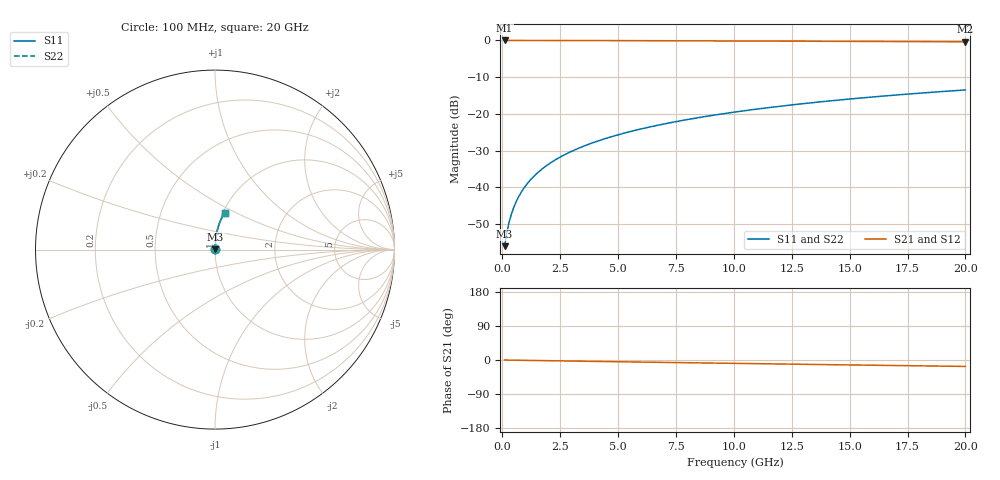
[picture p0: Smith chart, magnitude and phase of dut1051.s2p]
! Touchstone file exported from HFSS 2024.1.0
!  File:  C:/UserFiles/LocalFiles/RDL_TSV_Batchsim/temp_RDL_top_1051_1780044481.aedt
!  Generated:  04:50:15 PM May 29, 2026
!  Design:  RDL_top
!  Project:  temp_RDL_top_1051_1780044481
!  Setup:  Setup1
!  Solution:  Sweep
! Variables:
!  dtsv = 10.80580581um
!  hbump = 3um
!  htsv = 60.02um
!  ldown = 100um
!  lrdl = 192.45um
!  p = 40
!  p1 = 49.05um
!  rhole = 1um
!  t = 450um
!  tdown = 3.915915916um
!  trdl = 4.48um
!  wdown = 15.38538539um
!  wrdl = 14.77um
# GHz S MA R 50.000000
! Terminal data exported
! Port[1] = Box2_T1
! Port[2] = Box2_T2
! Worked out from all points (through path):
!   200 points, 100 MHz to 20 GHz, reference 50 ohm
!   highest |S21| = -0.01 dB at 100 MHz (marker M1); lowest = -0.4 dB at 20 GHz (marker M2)
!   group delay of S21, straight-line fit = 2.34 ps
!   lowest |S11| = -56.0 dB at 100 MHz (marker M3), VSWR 1.00, Z = 50.1 + j0.108 ohm
!   |S11| at or under -10 dB: start of sweep to end of sweep
!   |S22| runs from -56.0 to -13.5 dB; largest |S21 - S12| = 3.1e-15
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0.1  0.001584 42.8  0.9988 -0.1  0.9988 -0.1  0.001584 42.8
! Gamma 0 0 0 0
! Port Impedance 50 0 50 0
0.2  0.002447 60.8  0.9988 -0.2  0.9988 -0.2  0.002447 60.8
0.3  0.003407 68.8  0.9988 -0.3  0.9988 -0.3  0.003407 68.8
0.4  0.004393 73.3  0.9987 -0.4  0.9987 -0.4  0.004393 73.3
0.5  0.005389 76.1  0.9987 -0.5  0.9987 -0.5  0.005389 76.1
0.6  0.006392 78.1  0.9986 -0.6  0.9986 -0.6  0.006392 78.1
0.8  0.008411 80.7  0.9985 -0.8  0.9985 -0.8  0.008411 80.7
1.1  0.01146 82.9  0.9984 -1.0  0.9984 -1.0  0.01146 82.9
1.5  0.01556 84.4  0.9981 -1.4  0.9981 -1.4  0.01556 84.4
1.8  0.01864 85.1  0.9979 -1.7  0.9979 -1.7  0.01864 85.1
2.1  0.02173 85.5  0.9976 -2.0  0.9976 -2.0  0.02173 85.5
2.7  0.02792 86.0  0.997 -2.5  0.997 -2.5  0.02792 86.0
3.5  0.03622 86.2  0.9959 -3.3  0.9959 -3.3  0.03622 86.2
4.2  0.04353 86.2  0.9948 -3.9  0.9948 -3.9  0.04353 86.2
5  0.05192 86.0  0.9935 -4.6  0.9935 -4.6  0.05192 86.0
5.9  0.06144 85.7  0.9918 -5.4  0.9918 -5.4  0.06144 85.7
6.8  0.07102 85.3  0.99 -6.2  0.99 -6.2  0.07102 85.3
8.3  0.08712 84.5  0.9868 -7.5  0.9868 -7.5  0.08712 84.5
10.1  0.1066 83.3  0.9828 -9.0  0.9828 -9.0  0.1066 83.3
13.4  0.1423 80.8  0.9751 -11.7  0.9751 -11.7  0.1423 80.8
16.7  0.1775 78.2  0.9668 -14.4  0.9668 -14.4  0.1775 78.2
20  0.2119 75.4  0.9579 -17.0  0.9579 -17.0  0.2119 75.4
